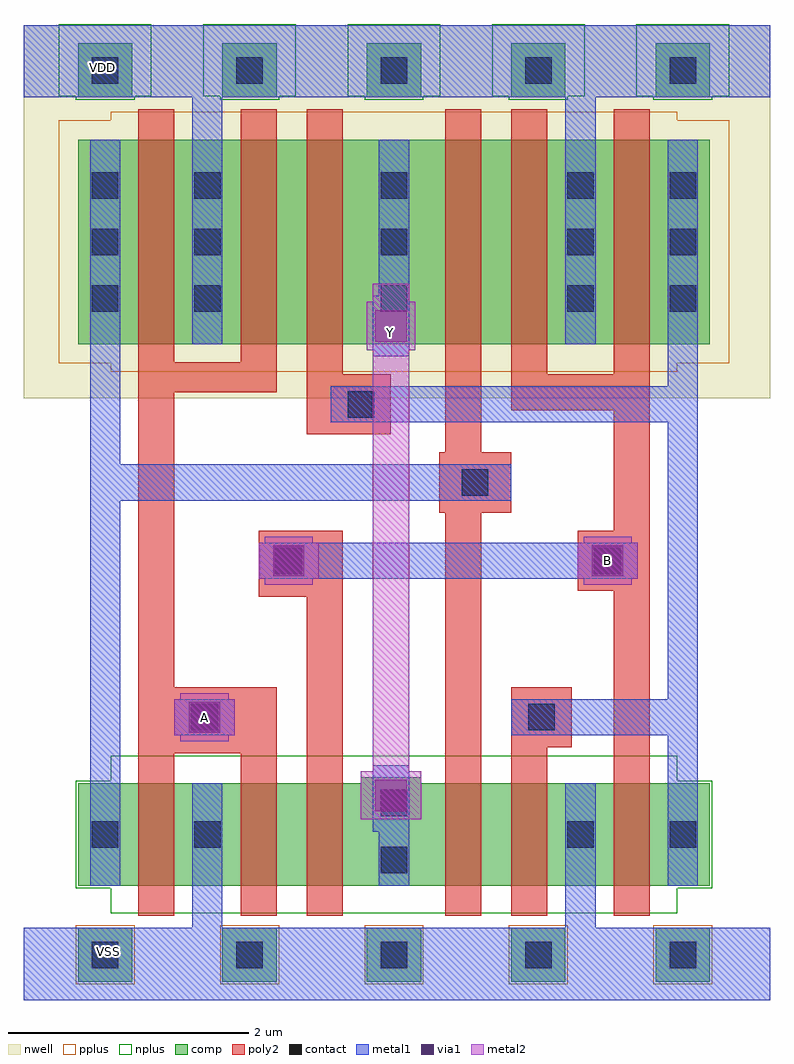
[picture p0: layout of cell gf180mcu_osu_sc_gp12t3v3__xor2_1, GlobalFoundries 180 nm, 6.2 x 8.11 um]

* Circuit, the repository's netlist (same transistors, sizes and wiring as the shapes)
* Copyright 2022 Google LLC
*
* Licensed under the Apache License, Version 2.0 (the "License");
* you may not use this file except in compliance with the License.
* You may obtain a copy of the License at
*
*      http://www.apache.org/licenses/LICENSE-2.0
*
* Unless required by applicable law or agreed to in writing, software
* distributed under the License is distributed on an "AS IS" BASIS,
* WITHOUT WARRANTIES OR CONDITIONS OF ANY KIND, either express or implied.
* See the License for the specific language governing permissions and
* limitations under the License.

.option scale=0.05u

.subckt gf180mcu_osu_sc_gp12t3v3__xor2_1 A Y B
X0 Y B a_42_19 VSS nmos_3p3 w=17 l=6
X1 VDD B a_76_109 VDD pmos_3p3 w=34 l=6
X2 a_47_94 B VDD VDD pmos_3p3 w=34 l=6
X3 Y a_47_94 a_42_109 VDD pmos_3p3 w=34 l=6
X4 a_76_109 a_9_19 Y VDD pmos_3p3 w=34 l=6
X5 a_42_109 A VDD VDD pmos_3p3 w=34 l=6
X6 VDD A a_9_19 VDD pmos_3p3 w=34 l=6
X7 VSS A a_9_19 VSS nmos_3p3 w=17 l=6
X8 a_76_19 a_9_19 Y VSS nmos_3p3 w=17 l=6
X9 a_42_19 A VSS VSS nmos_3p3 w=17 l=6
X10 a_47_94 B VSS VSS nmos_3p3 w=17 l=6
X11 VSS a_47_94 a_76_19 VSS nmos_3p3 w=17 l=6
.ends

** hspice subcircuit dictionary

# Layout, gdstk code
import gdstk
lib = gdstk.Library(unit=1e-6, precision=1e-09)
def R(c, l, rs):  # rectangles x0, y0, x1, y1
    for r in rs: c.add(gdstk.rectangle(r[:2], r[2:], *l))
def A(c, l, x, y, w, h, nx, ny, dx, dy):  # array of equal rectangles
    R(c, l, [(x+i*dx, y+j*dy, x+i*dx+w, y+j*dy+h) for i in range(nx) for j in range(ny)])
nwell = (21, 0)
comp = (22, 0)
poly2 = (30, 0)
pplus = (31, 0)
nplus = (32, 0)
contact = (33, 0)
metal1 = (34, 0)
via1 = (35, 0)
metal2 = (36, 0)

gf180mcu_osu_sc_gp12t3v3 = lib.new_cell('gf180mcu_osu_sc_gp12t3v3__xor2_1')
R(gf180mcu_osu_sc_gp12t3v3, nwell, [(0,5,6.2,8.1)])
A(gf180mcu_osu_sc_gp12t3v3, comp, 0.45, 0.15, 0.45, 0.45, 5, 2, 1.2, 7.35)
R(gf180mcu_osu_sc_gp12t3v3, comp, [(0.45,0.95,5.7,1.8), (2.8,1.8,3.3,1.85), (0.45,5.45,5.7,7.15)])
R(gf180mcu_osu_sc_gp12t3v3, poly2, [(0.95,0.7,1.25,2.05), (1.8,0.7,2.1,2.05), (2.35,0.7,2.65,3.35), (3.5,0.7,3.8,4.05), (4.05,0.7,4.35,2.1), (4.9,0.7,5.2,3.4), (0.95,2.05,2.1,2.6), (4.05,2.1,4.55,2.6), (0.95,2.6,1.25,5.05), (1.95,3.35,2.65,3.9), (4.6,3.4,5.2,3.9), (4.9,3.9,5.2,4.9), (3.45,4.05,4.05,4.55), (3.5,4.55,3.8,7.4), (2.35,4.7,3.05,5.2), (4.05,4.9,5.2,5.2), (0.95,5.05,2.1,5.3), (2.35,5.2,2.65,7.4), (4.05,5.2,4.35,7.4), (4.9,5.2,5.2,7.4), (0.95,5.3,1.25,7.4), (1.8,5.3,2.1,7.4)])
A(gf180mcu_osu_sc_gp12t3v3, pplus, 0.43, 0.13, 0.49, 0.49, 5, 1, 1.2, 0)
R(gf180mcu_osu_sc_gp12t3v3, pplus, [(0.72,5.22,5.43,5.29), (0.29,5.29,5.86,7.31), (0.72,7.31,5.43,7.38)])
A(gf180mcu_osu_sc_gp12t3v3, nplus, 0.43, 7.48, 0.49, 0.03, 5, 1, 1.2, 0)
A(gf180mcu_osu_sc_gp12t3v3, nplus, 0.29, 7.51, 0.77, 0.6, 5, 1, 1.2, 0)
R(gf180mcu_osu_sc_gp12t3v3, nplus, [(0.72,0.72,5.43,0.93), (0.43,0.93,5.72,1.82), (0.72,1.82,5.43,2.03)])
A(gf180mcu_osu_sc_gp12t3v3, contact, 0.565, 0.265, 0.22, 0.22, 5, 2, 1.2, 7.35)
A(gf180mcu_osu_sc_gp12t3v3, contact, 0.565, 5.72, 0.22, 0.22, 1, 3, 0, 0.47)
A(gf180mcu_osu_sc_gp12t3v3, contact, 1.415, 5.72, 0.22, 0.22, 3, 3, 1.55, 0.47)
A(gf180mcu_osu_sc_gp12t3v3, contact, 5.365, 5.72, 0.22, 0.22, 1, 3, 0, 0.47)
R(gf180mcu_osu_sc_gp12t3v3, contact, [(2.965,1.055,3.185,1.275), (0.565,1.265,0.785,1.485), (1.415,1.265,1.635,1.485), (4.515,1.265,4.735,1.485), (5.365,1.265,5.585,1.485), (2.965,1.525,3.185,1.745), (1.39,2.24,1.61,2.46), (4.19,2.24,4.41,2.46), (2.09,3.54,2.31,3.76), (4.74,3.54,4.96,3.76), (3.64,4.19,3.86,4.41), (2.69,4.84,2.91,5.06)])
R(gf180mcu_osu_sc_gp12t3v3, metal1, [(0,0,6.2,0.6), (1.4,0.6,1.65,1.8), (4.5,0.6,4.75,1.8), (0.55,0.95,0.8,4.15), (2.95,0.95,3.2,1.4), (5.35,0.95,5.6,2.2), (2.9,1.4,3.2,1.95), (1.25,2.2,1.75,2.5), (4.05,2.2,5.6,2.5), (5.35,2.5,5.6,4.8), (1.95,3.5,5.1,3.8), (0.55,4.15,4.05,4.45), (0.55,4.45,0.8,7.15), (2.55,4.8,5.6,5.1), (5.35,5.1,5.6,7.15), (2.9,5.35,3.2,5.85), (1.4,5.45,1.65,7.5), (4.5,5.45,4.75,7.5), (2.95,5.85,3.2,7.15), (0,7.5,6.2,8.1)])
R(gf180mcu_osu_sc_gp12t3v3, via1, [(2.92,1.57,3.18,1.83), (1.37,2.22,1.63,2.48), (2.07,3.52,2.33,3.78), (4.72,3.52,4.98,3.78), (2.92,5.47,3.18,5.73)])
R(gf180mcu_osu_sc_gp12t3v3, metal2, [(2.8,1.5,3.3,1.9), (2.9,1.9,3.2,5.4), (1.3,2.15,1.7,2.2), (1.25,2.2,1.75,2.5), (1.3,2.5,1.7,2.55), (2,3.45,2.4,3.5), (4.65,3.45,5.05,3.5), (1.95,3.5,2.45,3.8), (4.6,3.5,5.1,3.8), (2,3.8,2.4,3.85), (4.65,3.8,5.05,3.85), (2.85,5.4,3.25,5.8), (2.9,5.8,3.2,5.95)])
gf180mcu_osu_sc_gp12t3v3.add(gdstk.Label('VDD', (0.65,7.75), layer=34, texttype=0))
gf180mcu_osu_sc_gp12t3v3.add(gdstk.Label('VSS', (0.7,0.4), layer=34, texttype=0))
gf180mcu_osu_sc_gp12t3v3.add(gdstk.Label('A', (1.5,2.35), layer=36, texttype=10))
gf180mcu_osu_sc_gp12t3v3.add(gdstk.Label('Y', (3.05,5.55), layer=36, texttype=10))
gf180mcu_osu_sc_gp12t3v3.add(gdstk.Label('B', (4.85,3.65), layer=36, texttype=10))

lib.write_gds('gf180mcu_osu_sc_gp12t3v3__xor2_1.gds')
